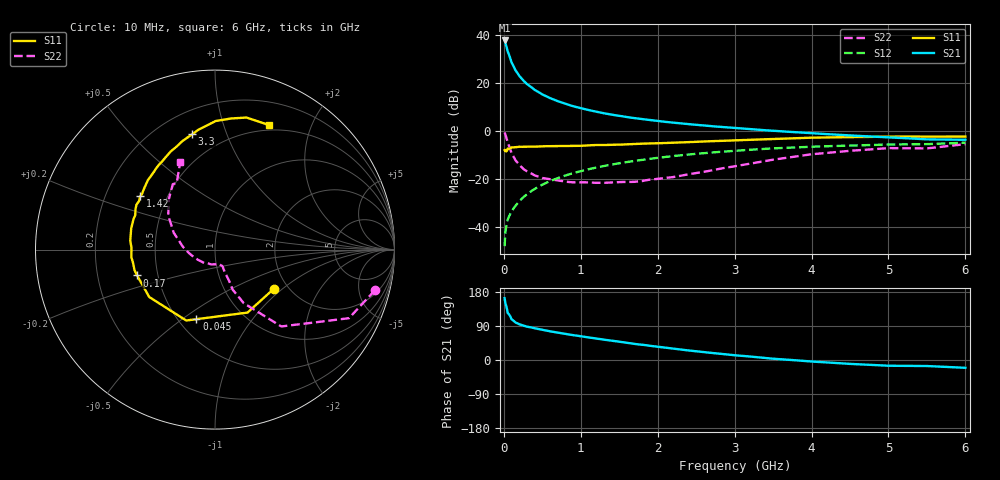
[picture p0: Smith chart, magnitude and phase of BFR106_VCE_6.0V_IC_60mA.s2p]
! Infineon Technologies  Discrete & RF Semiconductors
! BFR106
! VCE =  6.0 V,  IC =  60 mA
! Common Emitter S-Parameters:  Nov 2015
# GHz  S  MA  R  50
!  f  S11  S21  S12  S22
! GHz  MAG  ANG  MAG  ANG  MAG  ANG  MAG  ANG
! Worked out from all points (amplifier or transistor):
!   210 points, 10 MHz to 6 GHz, reference 50 ohm
!   highest |S21| = 37.7 dB at 10 MHz (marker M1)
!   |S21| within 3 dB of that: start of sweep to 37.11 MHz
!   unconditionally stable (mu >= 1): 242.1 MHz to 2.311 GHz
!   at 185 MHz: K = 0.94, MSG = 26.9 dB, |S12| = -30.0 dB
!   at 1.52 GHz: K = 1.05, MAG = 8.4 dB, |S12| = -13.5 dB
!   at 6 GHz: K = 0.98, MSG = 0.6 dB, |S12| = -5.0 dB
!   S11 on the Smith chart (normalised r, x): 10 MHz: 1.69, -0.87; 45 MHz: 0.61, -0.57; 170 MHz: 0.38, -0.14; 1.42 GHz: 0.35, +0.28; 3.3 GHz: 0.34, +0.76; 6 GHz: 0.44, +1.43
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0.01  0.3937 -33.8  76.58 163.1  0.0039 80.5  0.9191 -14.3
0.02  0.3948 -62.7  68.95 149.6  0.0077 69.2  0.8387 -27.1
0.045  0.4012 -104.9  48.51 130.1  0.0129 62.4  0.6032 -44.2
0.05  0.4263 -112.1  45.45 124.3  0.014 61.6  0.5657 -49.2
0.1  0.4517 -144.2  26.64 107.3  0.0206 61.9  0.3388 -61.8
0.15  0.4541 -158.9  18.34 99.0  0.0271 65.2  0.2434 -66.2
0.17  0.457 -161.6  16.6 97.4  0.0296 66.6  0.2238 -66.0
0.2  0.4631 -165.5  14.02 94.3  0.0335 68.4  0.1944 -65.7
0.26  0.4635 -171.8  10.89 90.1  0.0418 69.9  0.1567 -66.2
0.3  0.4681 -174.7  9.438 88.0  0.0472 71.3  0.1429 -66.7
0.4  0.4655 178.7  7.138 83.6  0.0609 72.1  0.1172 -66.0
0.5  0.4746 174.0  5.724 79.5  0.0748 72.3  0.1033 -65.5
0.6  0.477 170.1  4.802 75.7  0.0887 72.0  0.0973 -67.0
0.8  0.4823 163.2  3.64 68.9  0.1162 70.2  0.0864 -72.4
1.02  0.4866 155.9  2.902 62.0  0.1461 67.5  0.084 -79.7
1.42  0.5108 144.4  2.144 50.5  0.1994 62.3  0.0837 -99.6
2.02  0.5488 128.7  1.582 34.5  0.2744 53.6  0.0997 -136.9
3.1  0.6384 104.9  1.11 10.9  0.391 37.4  0.1931 170.2
3.3  0.6554 101.2  1.052 7.3  0.4094 34.4  0.2197 163.1
4.1  0.7196 88.3  0.869 -5.2  0.4706 22.6  0.3334 141.2
5.1  0.7552 75.4  0.715 -15.3  0.5171 10.0  0.4326 122.2
6  0.7566 66.5  0.648 -20.6  0.5634 0.1  0.5245 111.7
